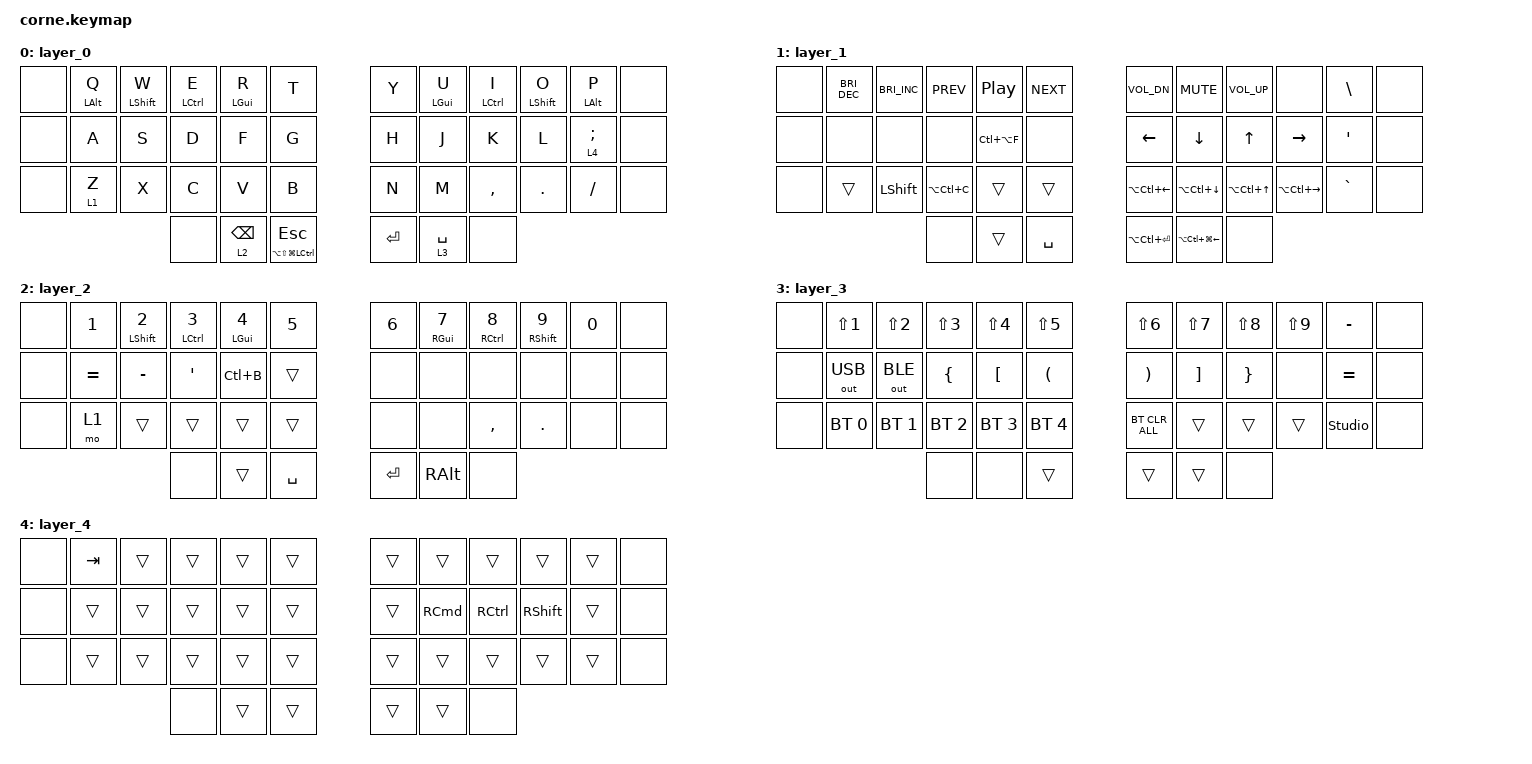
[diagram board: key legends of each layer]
/*
 * Copyright (c) 2020 The ZMK Contributors
 *
 * SPDX-License-Identifier: MIT
 */

#include <behaviors.dtsi>
#include <dt-bindings/zmk/bt.h>
#include <dt-bindings/zmk/keys.h>
#include <dt-bindings/zmk/outputs.h>

#define ALL LA(LS(LG(LCTRL)))

&mt {
    quick-tap-ms = <175>;
    require-prior-idle-ms = <100>;
    flavor = "balanced";
    hold-trigger-on-release;
    hold-trigger-key-positions = <2 3 4 7 8 9 38 1 10>;
};

/ {
    behaviors {
        mt_repeat: mt_repeat {
            compatible = "zmk,behavior-hold-tap";
            #binding-cells = <2>;
            flavor = "tap-preferred";
            tapping-term-ms = <200>;
            quick-tap-ms = <200>;
            require-prior-idle-ms = <100>;
            hold-trigger-on-release;
            hold-trigger-key-positions = <2 3 4 7 8 9 38 1 10>;
            bindings = <&kp>, <&kp>;
        };

        lt_repeat: lt_repeat {
            compatible = "zmk,behavior-hold-tap";
            #binding-cells = <2>;
            flavor = "tap-preferred";
            tapping-term-ms = <200>;
            quick-tap-ms = <200>;
            require-prior-idle-ms = <100>;
            bindings = <&mo>, <&kp>;
        };
    };

    combos {
        compatible = "zmk,combos";

        Capslock {
            bindings = <&kp CAPSLOCK>;
            key-positions = <37 40>;
        };

        Lparen {
            bindings = <&kp LEFT_PARENTHESIS>;
            key-positions = <4 5>;
        };

        Rparen {
            bindings = <&kp RIGHT_PARENTHESIS>;
            key-positions = <6 7>;
        };

        Lbrack {
            bindings = <&kp LEFT_BRACKET>;
            key-positions = <16 17>;
        };

        Rbrack {
            bindings = <&kp RIGHT_BRACKET>;
            key-positions = <18 19>;
        };

        Lcurly {
            bindings = <&kp LEFT_BRACE>;
            key-positions = <28 29>;
        };

        Rcurly {
            bindings = <&kp RIGHT_BRACE>;
            key-positions = <31 30>;
        };
    };

    keymap {
        compatible = "zmk,keymap";

        layer_0 {
            bindings = <
&none  &mt_repeat LEFT_ALT Q  &mt_repeat LEFT_SHIFT W  &mt_repeat LEFT_CONTROL E  &mt_repeat LEFT_GUI R   &kp T          &kp Y    &mt_repeat LEFT_GUI U  &mt_repeat LEFT_CONTROL I  &mt_repeat LEFT_SHIFT O  &mt_repeat LEFT_ALT P  &none
&none  &kp A                  &kp S                    &kp D                      &kp F                   &kp G          &kp H    &kp J                  &kp K                      &kp L                    &lt_repeat 4 SEMICOLON  &none
&none  &lt_repeat 1 Z         &kp X                    &kp C                      &kp V                   &kp B          &kp N    &kp M                  &kp COMMA                  &kp DOT                  &kp SLASH              &none
                                                       &none                      &lt_repeat 2 BACKSPACE  &mt ALL ESC    &kp RET  &lt_repeat 3 SPACE     &none
            >;
        };

        layer_1 {
            bindings = <
&none  &kp C_BRIGHTNESS_DEC  &kp C_BRIGHTNESS_INC  &kp C_PREV     &kp C_PLAY_PAUSE  &kp C_NEXT    &kp C_VOL_DN      &kp C_MUTE            &kp C_VOL_UP    &none              &kp BACKSLASH  &none
&none  &none                 &none                 &none          &kp LC(LA(F))     &none         &kp LEFT          &kp DOWN              &kp UP          &kp RIGHT          &kp SQT        &none
&none  &trans                &kp LEFT_SHIFT        &kp LA(LC(C))  &trans            &trans        &kp LA(LC(LEFT))  &kp LA(LC(DOWN))      &kp LA(LC(UP))  &kp LA(LC(RIGHT))  &kp GRAVE      &none
                                                   &none          &trans            &kp SPACE     &kp LA(LC(RET))   &kp LA(LC(LG(LEFT)))  &none
            >;
        };

        layer_2 {
            bindings = <
&none  &kp N1     &mt_repeat LEFT_SHIFT N2  &mt_repeat LEFT_CONTROL N3  &mt_repeat LEFT_GUI N4  &kp N5       &kp N6   &mt_repeat RIGHT_GUI N7  &mt_repeat RIGHT_CONTROL N8  &mt_repeat RIGHT_SHIFT N9  &kp N0      &none
&none  &kp EQUAL  &kp MINUS                 &kp SQT                     &kp LC(B)               &trans       &none    &none                    &none                        &none                      &none       &none
&none  &mo 1      &trans                    &trans                      &trans                  &trans       &none    &none                    &kp COMMA                    &kp PERIOD                 &none       &none
                                            &none                       &trans                  &kp SPACE    &kp RET  &kp RALT                 &none
            >;
        };

        layer_3 {
            bindings = <
&none  &kp LS(N1)    &kp LS(N2)    &kp LS(N3)      &kp LS(N4)        &kp LS(N5)      &kp LS(N6)      &kp LS(N7)         &kp LS(N8)       &kp LS(N9)  &kp MINUS  &none
&none  &out OUT_USB  &out OUT_BLE  &kp LEFT_BRACE  &kp LEFT_BRACKET  &kp LPAR        &kp RPAR        &kp RIGHT_BRACKET  &kp RIGHT_BRACE  &none       &kp EQUAL  &none
&none  &bt BT_SEL 0  &bt BT_SEL 1  &bt BT_SEL 2    &bt BT_SEL 3      &bt BT_SEL 4    &bt BT_CLR_ALL  &trans             &trans           &trans      &studio_unlock  &none
                                    &none           &none             &trans          &trans          &trans             &none
            >;
        };

        layer_4 {
            bindings = <
&none  &kp TAB  &trans  &trans  &trans  &trans    &trans  &trans    &trans     &trans           &trans  &none
&none  &trans   &trans  &trans  &trans  &trans    &trans  &kp RCMD  &kp RCTRL  &kp RIGHT_SHIFT  &trans  &none
&none  &trans   &trans  &trans  &trans  &trans    &trans  &trans    &trans     &trans           &trans  &none
                        &none   &trans  &trans    &trans  &trans    &none
            >;
        };
    };
};
